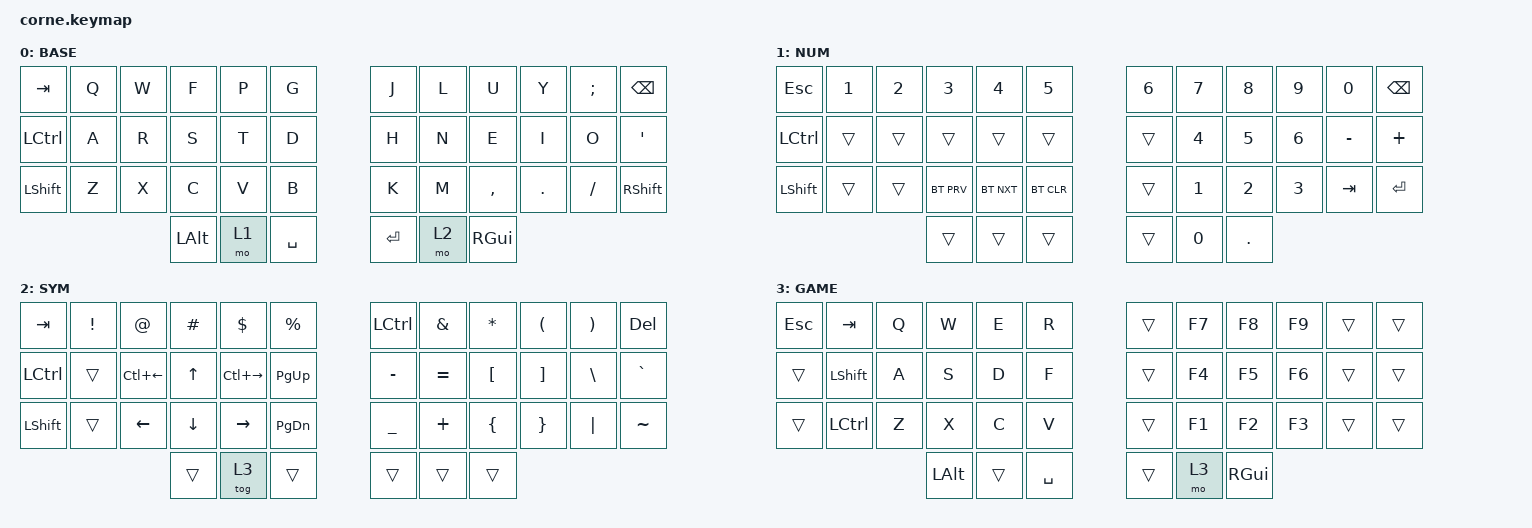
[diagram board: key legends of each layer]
/*
 * Copyright (c) 2020 The ZMK Contributors
 *
 * SPDX-License-Identifier: MIT
 */

#include <behaviors.dtsi>
#include <dt-bindings/zmk/bt.h>
#include <dt-bindings/zmk/keys.h>

/ {
    keymap {
        compatible = "zmk,keymap";

        layer_0 {
            // -----------------------------------------------------------------------------------------
            // |  TAB |  Q  |  W  |  E  |  R  |  T  |   |  Y  |  U   |  I  |  O  |  P  | BSPC |
            // | CTRL |  A  |  S  |  D  |  F  |  G  |   |  H  |  J   |  K  |  L  |  ;  |  '   |
            // | SHFT |  Z  |  X  |  C  |  V  |  B  |   |  N  |  M   |  ,  |  .  |  /  | ESC  |
            //                    | GUI | LWR | SPC |   | ENT | RSE  | ALT |

            bindings = <
&kp TAB     &kp Q  &kp W  &kp F     &kp P  &kp G        &kp J    &kp L  &kp U          &kp Y    &kp SEMI    &kp BSPC
&kp LCTRL   &kp A  &kp R  &kp S     &kp T  &kp D        &kp H    &kp N  &kp E          &kp I    &kp O       &kp SQT
&kp LSHIFT  &kp Z  &kp X  &kp C     &kp V  &kp B        &kp K    &kp M  &kp COMMA      &kp DOT  &kp FSLH    &kp RSHIFT
                          &kp LALT  &mo 1  &kp SPACE    &kp RET  &mo 2  &kp RIGHT_GUI
            >;

            label = "BASE";
        };

        layer_1 {
            bindings = <
&kp ESC     &kp N1  &kp N2  &kp N3      &kp N4      &kp N5          &kp N6  &kp N7  &kp N8   &kp N9  &kp N0     &kp BSPC
&kp LCTRL   &trans  &trans  &trans      &trans      &trans          &trans  &kp N4  &kp N5   &kp N6  &kp MINUS  &kp PLUS
&kp LSHIFT  &trans  &trans  &bt BT_PRV  &bt BT_NXT  &bt BT_CLR      &trans  &kp N1  &kp N2   &kp N3  &kp TAB    &kp ENTER
                            &trans      &trans      &trans          &trans  &kp N0  &kp DOT
            >;

            label = "NUM";
        };

        layer_2 {
            bindings = <
&kp TAB     &kp EXCLAMATION  &kp AT_SIGN   &kp POUND       &kp DOLLAR     &kp PERCENT      &kp LCTRL       &kp AMPERSAND  &kp ASTERISK      &kp LEFT_PARENTHESIS  &kp RIGHT_PARENTHESIS  &kp DEL
&kp LCTRL   &trans           &kp LC(LEFT)  &kp UP_ARROW    &kp LC(RIGHT)  &kp PAGE_UP      &kp MINUS       &kp EQUAL      &kp LEFT_BRACKET  &kp RIGHT_BRACKET     &kp BACKSLASH          &kp GRAVE
&kp LSHIFT  &trans           &kp LEFT      &kp DOWN_ARROW  &kp RIGHT      &kp PAGE_DOWN    &kp UNDERSCORE  &kp PLUS       &kp LEFT_BRACE    &kp RIGHT_BRACE       &kp PIPE               &kp TILDE
                                           &trans          &tog 3         &trans           &trans          &trans         &trans
            >;

            label = "SYM";
        };

        layer_3 {
            bindings = <
&kp ESC  &kp TAB    &kp Q  &kp W         &kp E   &kp R        &trans  &kp F7  &kp F8    &kp F9  &trans  &trans
&trans   &kp LSHFT  &kp A  &kp S         &kp D   &kp F        &trans  &kp F4  &kp F5    &kp F6  &trans  &trans
&trans   &kp LCTRL  &kp Z  &kp X         &kp C   &kp V        &trans  &kp F1  &kp F2    &kp F3  &trans  &trans
                           &kp LEFT_ALT  &trans  &kp SPACE    &trans  &mo 3   &kp RGUI
            >;

            label = "GAME";
        };
    };
};
